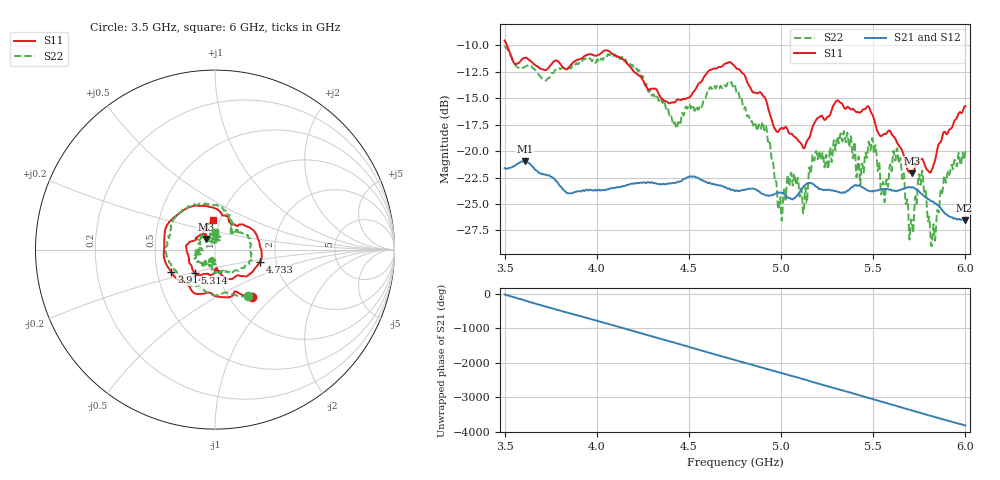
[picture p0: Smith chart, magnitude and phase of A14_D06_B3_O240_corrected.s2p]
! Created with skrf 1.9.0 (http://scikit-rf.org).
# Hz S RI R 50.0
!freq ReS11 ImS11 ReS21 ImS21 ReS12 ImS12 ReS22 ImS22
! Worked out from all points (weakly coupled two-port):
!   1601 points, 3.5 GHz to 6 GHz, reference 50 ohm
!   highest |S21| = -20.92 dB at 3.609 GHz (marker M1); lowest = -26.5 dB at 5.995 GHz (marker M2)
!   lowest |S11| = -22.1 dB at 5.711 GHz (marker M3), VSWR 1.17, Z = 44.8 + j5.3 ohm
!   |S11| at or under -10 dB: 3.513 GHz to end of sweep
!   |S22| runs from -29.0 to -10.0 dB; largest |S21 - S12| = 0.00097
!   S11 on the Smith chart (normalised r, x): 3.5 GHz: 1.26, -0.75; 3.914 GHz: 0.59, -0.16; 4.733 GHz: 1.65, -0.23; 5.314 GHz: 0.77, -0.21; 6 GHz: 0.93, +0.31
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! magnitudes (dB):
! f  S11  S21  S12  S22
! 3.5 GHz  -9.5  -21.6  -21.6  -10.0
! 3.609 GHz  -11.2  -20.9  -20.9  -12.0
! 3.914 GHz  -11.3  -23.8  -23.8  -11.6
! 3.917 GHz  -11.2  -23.8  -23.8  -11.6
! 4.334 GHz  -14.5  -23.1  -23.0  -15.1
! 4.441 GHz  -15.1  -22.9  -22.9  -17.3
! 4.733 GHz  -11.7  -23.7  -23.6  -13.6
! 4.75 GHz  -12.0  -23.8  -23.7  -13.8
! 4.911 GHz  -14.9  -24.1  -24.1  -18.0
! 4.995 GHz  -17.9  -23.9  -23.9  -24.4
! 5.045 GHz  -18.3  -24.5  -24.4  -23.2
! 5.13 GHz  -19.6  -23.2  -23.2  -23.7
! 5.167 GHz  -17.9  -23.1  -23.0  -20.9
! 5.314 GHz  -15.3  -23.9  -23.8  -19.2
! 5.584 GHz  -18.0  -23.6  -23.6  -22.5
! 5.638 GHz  -19.4  -23.7  -23.7  -21.1
! 5.711 GHz  -22.1  -23.4  -23.3  -26.8
! 5.758 GHz  -20.8  -24.0  -23.9  -23.1
! 5.825 GHz  -21.4  -24.8  -24.7  -27.2
! 5.894 GHz  -18.3  -26.0  -25.9  -23.0
! 5.995 GHz  -15.8  -26.5  -26.4  -20.7
! 6 GHz  -15.7  -26.5  -26.4  -20.0
